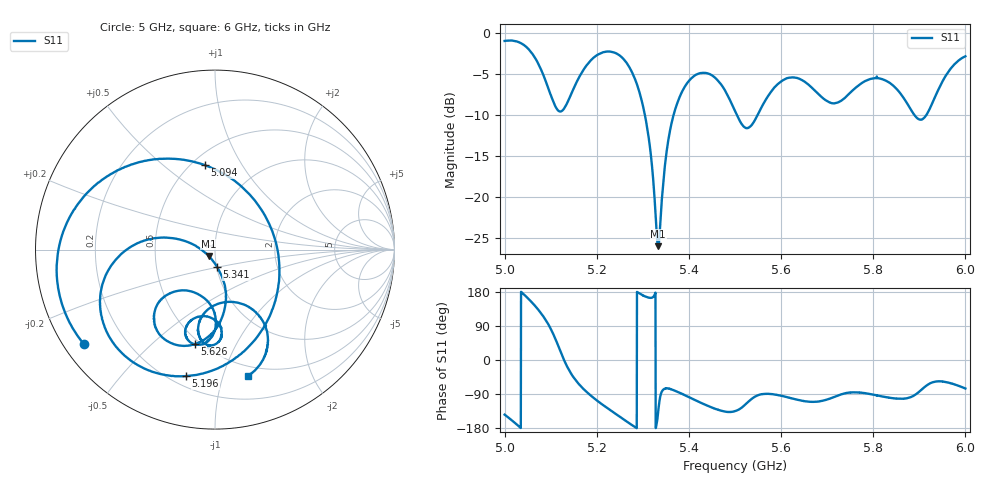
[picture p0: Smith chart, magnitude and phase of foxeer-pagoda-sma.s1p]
# HZ S RI R 50
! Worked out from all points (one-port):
!   2020 points, 5 GHz to 6 GHz, reference 50 ohm
!   lowest |S11| = -25.9 dB at 5.333 GHz (marker M1), VSWR 1.11, Z = 46.5 - j3.35 ohm
!   |S11| at or under -10 dB: 5.305 GHz to 5.366 GHz (61.8 MHz wide, 1.16 % of centre); 5.505 GHz to 5.549 GHz (43.93 MHz wide, 0.795 % of centre); 5.889968 GHz to 5.914679 GHz (24.71 MHz wide, 0.419 % of centre)
!   S11 on the Smith chart (normalised r, x): 5 GHz: 0.06, -0.32; 5.094 GHz: 0.58, +0.70; 5.196 GHz: 0.26, -0.76; 5.341 GHz: 1.00, -0.20; 5.626 GHz: 0.47, -0.70; 6 GHz: 0.41, -1.21
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5e9  -0.7303 -0.527
5.045072e9  -0.8229 0.1544
5.071322e9  -0.4762 0.4694
5.093611e9  -0.0553 0.4704
5.12531e9  0.3329 0.0616
5.154532e9  0.2915 -0.3981
5.196137e9  -0.1611 -0.7049
5.250124e9  -0.6342 -0.3665
5.30213e9  -0.3361 0.0636
5.316494e9  -0.1838 0.0531
5.333334e9  -0.0353 -0.036
5.341258e9  0.0118 -0.0968
5.355127e9  0.0567 -0.215
5.375434e9  0.0386 -0.3787
5.422982e9  -0.2072 -0.5327
5.46211e9  -0.3396 -0.3921
5.500248e9  -0.2373 -0.2379
5.527489e9  -0.0984 -0.2462
5.559683e9  -0.000736 -0.3638
5.625062e9  -0.1113 -0.5279
5.625558e9  -0.1123 -0.5279
5.670134e9  -0.1594 -0.4285
5.750372e9  0.0363 -0.4352
5.810798e9  -0.0382 -0.5321
5.875186e9  -0.0663 -0.3622
5.907876e9  0.0775 -0.291
5.951462e9  0.2824 -0.4329
6.000001e9  0.1855 -0.7018
